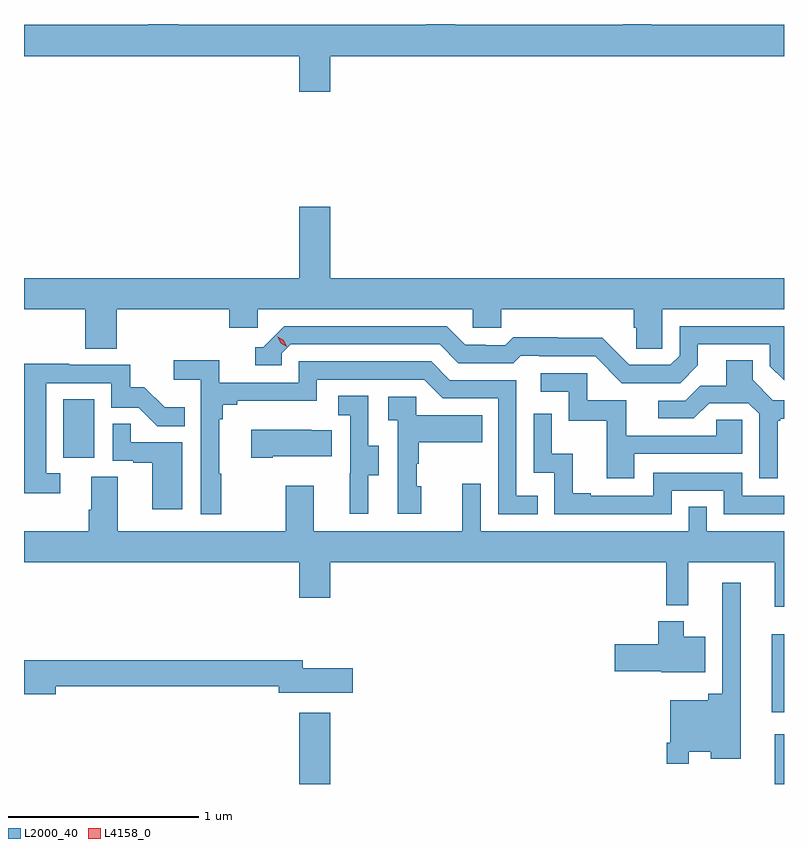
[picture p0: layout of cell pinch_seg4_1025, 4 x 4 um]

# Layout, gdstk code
import gdstk
lib = gdstk.Library(unit=1e-6, precision=1e-09)
def R(c, l, rs):  # rectangles x0, y0, x1, y1
    for r in rs: c.add(gdstk.rectangle(r[:2], r[2:], *l))
def P(c, l, *ps):  # polygons
    for p in ps: c.add(gdstk.Polygon(p, *l))
L2000_40 = (2000, 40)
L4158_0 = (4158, 0)

pinch_seg4_1025 = lib.new_cell('pinch_seg4_1025')
R(pinch_seg4_1025, L2000_40, [(812.36,765.017,812.524,765.391), (814.862,765.017,814.912,765.28), (814.847,765.395,814.912,765.805), (811.118,766.734,811.282,767.041)])
P(pinch_seg4_1025, L2000_40, [(812.524,768.848),(814.912,768.848),(814.912,769.012),(814.213,769.012),(814.213,769.017),(814.066,769.017),(814.066,769.012),(813.181,769.012),(813.181,769.017),(813.029,769.017),(813.029,769.012),(811.724,769.012),(811.724,769.017),(811.567,769.017),(811.567,769.012),(810.912,769.012),(810.912,768.848),(812.36,768.848),(812.36,768.66),(812.524,768.66)],
  [(811.4,767.516),(811.991,767.516),(811.991,767.418),(812.142,767.418),(812.142,767.516),(813.273,767.516),(813.273,767.418),(813.423,767.418),(813.423,767.516),(814.121,767.516),(814.121,767.418),(814.135,767.418),(814.135,767.308),(814.272,767.308),(814.272,767.516),(814.912,767.516),(814.912,767.68),(812.524,767.68),(812.524,768.055),(812.36,768.055),(812.36,767.68),(810.912,767.68),(810.912,767.516),(811.235,767.516),(811.235,767.308),(811.4,767.308)],
  [(814.459,767.221),(814.459,767.331),(814.836,767.331),(814.836,767.217),(814.912,767.141),(814.912,767.427),(814.362,767.427),(814.362,767.271),(814.314,767.223),(814.098,767.223),(813.956,767.365),(813.72,767.365),(813.72,767.368),(813.487,767.368),(813.445,767.325),(813.342,767.325),(813.342,767.328),(813.235,767.328),(813.136,767.427),(812.283,767.427),(812.172,767.316),(812.129,767.316),(812.129,767.22),(812.268,767.22),(812.268,767.283),(812.316,767.331),(813.099,767.331),(813.198,767.232),(813.487,767.232),(813.526,767.271),(813.625,767.271),(813.625,767.268),(813.918,767.268),(814.059,767.127),(814.365,767.127)],
  [(811.951,766.649),(811.939,766.649),(811.939,766.937),(811.958,766.937),(811.958,767.014),(812.035,767.014),(812.035,767.033),(812.454,767.033),(812.454,767.145),(813.018,767.145),(813.117,767.046),(813.408,767.046),(813.408,766.437),(813.617,766.437),(813.617,766.533),(813.504,766.533),(813.504,767.142),(813.154,767.142),(813.055,767.241),(812.358,767.241),(812.358,767.13),(811.94,767.13),(811.94,767.246),(811.701,767.246),(811.701,767.144),(811.842,767.144),(811.842,766.437),(811.951,766.437)],
  [(814.879,766.929),(814.891,766.929),(814.891,766.94),(814.912,766.94),(814.912,767.037),(814.854,767.037),(814.747,767.144),(814.747,767.246),(814.607,767.246),(814.607,767.114),(814.472,767.114),(814.392,767.034),(814.251,767.034),(814.251,766.941),(814.438,766.941),(814.519,767.022),(814.725,767.022),(814.782,766.965),(814.782,766.626),(814.879,766.626)],
  [(811.102,766.653),(811.029,766.653),(811.029,767.127),(811.371,767.127),(811.371,766.998),(811.515,766.998),(811.613,766.9),(811.757,766.9),(811.757,766.999),(811.653,766.999),(811.546,767.106),(811.47,767.106),(811.47,767.223),(811.151,767.223),(811.151,767.228),(810.913,767.228),(810.913,766.548),(811.102,766.548)],
  [(814.123,766.755),(814.692,766.755),(814.692,766.935),(814.555,766.935),(814.555,766.851),(814.081,766.851),(814.081,767.037),(813.876,767.037),(813.876,767.178),(813.633,767.178),(813.633,767.082),(813.78,767.082),(813.78,766.929),(813.979,766.929),(813.979,766.626),(814.123,766.626)],
  [(812.725,766.642),(812.779,766.642),(812.779,766.797),(812.724,766.797),(812.724,767.06),(812.565,767.06),(812.565,766.957),(812.628,766.957),(812.628,766.653),(812.627,766.653),(812.627,766.44),(812.725,766.44)],
  [(813.004,766.584),(812.979,766.584),(812.979,766.703),(812.989,766.703),(812.989,766.817),(813.323,766.817),(813.323,766.957),(812.976,766.957),(812.976,767.055),(812.829,767.055),(812.829,766.931),(812.88,766.931),(812.88,766.44),(813.004,766.44)],
  [(814.32,766.56),(814.596,766.56),(814.596,766.437),(814.912,766.437),(814.912,766.533),(814.692,766.533),(814.692,766.656),(814.224,766.656),(814.224,766.533),(813.895,766.533),(813.895,766.546),(813.8,766.546),(813.8,766.754),(813.69,766.754),(813.69,766.966),(813.594,766.966),(813.594,766.656),(813.702,766.656),(813.702,766.437),(814.32,766.437)],
  [(811.744,766.815),(811.475,766.815),(811.475,766.913),(811.38,766.913),(811.38,766.719),(811.487,766.719),(811.487,766.707),(811.586,766.707),(811.586,766.464),(811.744,766.464)],
  [(812.221,766.742),(812.531,766.742),(812.531,766.879),(812.423,766.879),(812.423,766.882),(812.109,766.882),(812.109,766.735),(812.221,766.735)],
  [(812.36,765.996),(812.524,765.996),(812.524,766.184),(814.291,766.184),(814.291,765.959),(814.409,765.959),(814.409,766.184),(814.862,766.184),(814.862,765.951),(814.912,765.951),(814.912,766.348),(814.506,766.348),(814.506,766.475),(814.41,766.475),(814.41,766.348),(813.315,766.348),(813.315,766.597),(813.218,766.597),(813.218,766.348),(812.437,766.348),(812.437,766.588),(812.29,766.588),(812.29,766.348),(811.405,766.348),(811.405,766.634),(811.265,766.634),(811.265,766.46),(811.253,766.46),(811.253,766.348),(810.912,766.348),(810.912,766.184),(812.36,766.184)],
  [(814.41,765.188),(814.526,765.188),(814.526,765.149),(814.684,765.149),(814.684,766.075),(814.587,766.075),(814.587,765.493),(814.514,765.493),(814.514,765.457),(814.314,765.457),(814.314,765.235),(814.294,765.235),(814.294,765.123),(814.41,765.123)],
  [(814.498,765.793),(814.384,765.793),(814.384,765.874),(814.25,765.874),(814.25,765.753),(814.02,765.753),(814.02,765.611),(814.266,765.611),(814.266,765.605),(814.498,765.605)],
  [(811.078,765.532),(812.252,765.532),(812.252,765.497),(812.641,765.497),(812.641,765.627),(812.38,765.627),(812.38,765.668),(810.912,765.668),(810.912,765.49),(811.078,765.49)])
P(pinch_seg4_1025, L4158_0, [(812.294,767.319),(812.263,767.338),(812.247,767.371),(812.247,767.371),(812.247,767.371),(812.278,767.352),(812.294,767.319),(812.294,767.319)])

lib.write_gds('pinch_seg4_1025.gds')
